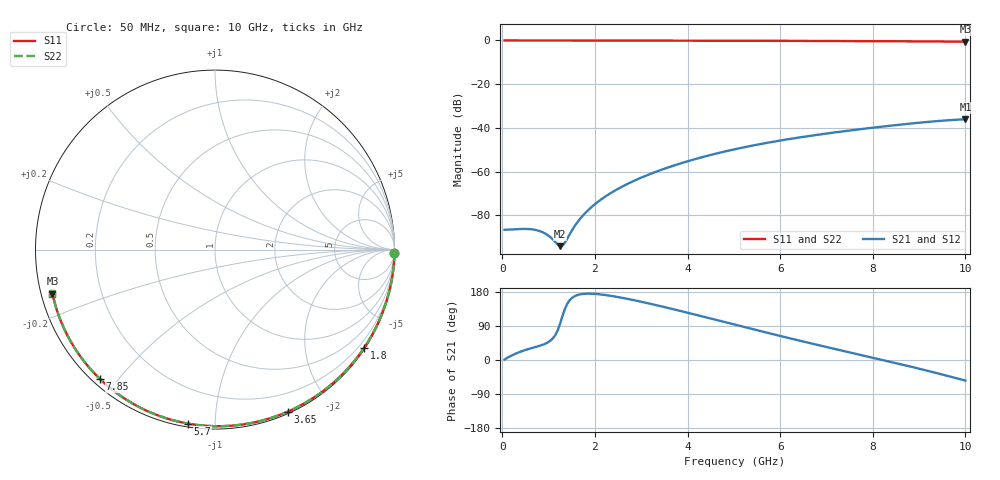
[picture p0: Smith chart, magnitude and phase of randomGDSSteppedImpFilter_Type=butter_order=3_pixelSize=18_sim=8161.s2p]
! freq	dB(S11)	phase(S11)	dB(S12)	phase(S12)
!  dB(S21)	phase(S21)	dB(S22)	phase(S22)
!S-par simulation data
#  GHz  S  DB  R 50
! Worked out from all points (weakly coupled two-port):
!   200 points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, 50 MHz to 10 GHz, reference 50 ohm
!   highest |S21| = -36.03 dB at 10 GHz (marker M1); lowest = -94.1 dB at 1.25 GHz (marker M2)
!   lowest |S11| = -0.6 dB at 10 GHz (marker M3), VSWR 31.42, Z = 1.62 - j6.63 ohm
!   |S11| at or under -10 dB: nowhere
!   |S22| runs from -0.6 to 0.0 dB; largest |S21 - S12| = 0
!   S11 on the Smith chart (normalised r, x): 50 MHz: open; 1.8 GHz: 0.03, -3.34; 3.65 GHz: 0.02, -1.55; 5.7 GHz: 0.02, -0.86; 7.85 GHz: 0.02, -0.45; 10 GHz: 0.03, -0.13
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0.05  -0.00 -0.9  -86.61 1.2  -86.61 1.2  -0.00 -0.9
0.65  -0.01 -12.2  -86.45 31.9  -86.45 31.9  -0.01 -12.2
1.25  -0.03 -23.3  -94.11 96.6  -94.11 96.6  -0.03 -23.3
1.75  -0.04 -32.4  -79.88 174.5  -79.88 174.5  -0.04 -32.5
1.8  -0.04 -33.4  -78.75 174.9  -78.75 174.9  -0.04 -33.4
1.95  -0.05 -36.1  -75.78 174.8  -75.78 174.8  -0.05 -36.1
2.1  -0.05 -38.8  -73.26 173.4  -73.26 173.4  -0.05 -38.8
2.25  -0.05 -41.4  -71.05 171.0  -71.05 171.0  -0.05 -41.4
2.45  -0.06 -45.0  -68.47 167.1  -68.47 167.1  -0.06 -45.0
2.9  -0.07 -52.9  -63.68 156.3  -63.68 156.3  -0.07 -52.9
3.4  -0.08 -61.5  -59.44 142.6  -59.44 142.6  -0.08 -61.5
3.65  -0.09 -65.8  -57.60 135.3  -57.60 135.3  -0.09 -65.8
4.3  -0.11 -76.6  -53.48 115.7  -53.48 115.7  -0.11 -76.6
5.05  -0.14 -88.7  -49.63 92.5  -49.63 92.5  -0.14 -88.7
5.7  -0.17 -98.9  -46.90 72.5  -46.90 72.5  -0.17 -98.9
6.2  -0.19 -106.6  -45.09 57.5  -45.09 57.5  -0.19 -106.7
6.7  -0.22 -114.3  -43.47 42.9  -43.47 42.9  -0.22 -114.3
7.25  -0.26 -122.6  -41.88 27.2  -41.88 27.2  -0.26 -122.6
7.85  -0.31 -131.6  -40.28 10.3  -40.28 10.3  -0.31 -131.6
8.35  -0.36 -139.1  -39.06 -3.8  -39.06 -3.8  -0.36 -139.1
9.2  -0.45 -152.1  -37.24 -28.9  -37.24 -28.9  -0.45 -152.2
10  -0.55 -164.9  -36.03 -54.3  -36.03 -54.3  -0.55 -164.9
